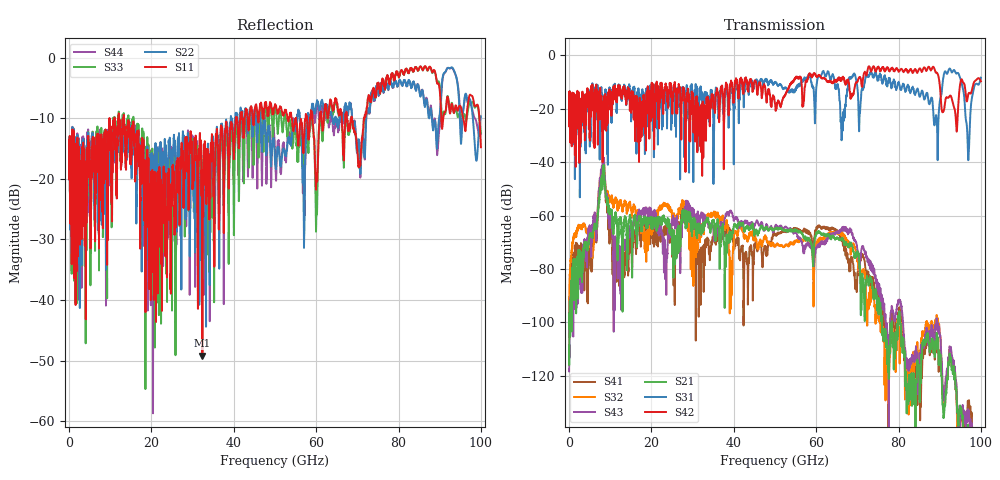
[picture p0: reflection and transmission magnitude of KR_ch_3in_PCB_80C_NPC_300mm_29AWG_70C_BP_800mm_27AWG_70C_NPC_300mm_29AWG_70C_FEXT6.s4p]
# GHz S RI R 45
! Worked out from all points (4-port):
!   4000 points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, 25 MHz to 100 GHz, reference 45 ohm
!   strongest paths, dB at 25 MHz, 25.02 GHz, 50.02 GHz, 75.03 GHz, 100 GHz:
!     S42: -20.0, -17.9, -18.0, -4.4, -9.7
!     S31: -20.0, -21.5, -10.3, -8.7, -8.4
!     S21: -109.0, -69.9, -65.0, -92.8, -174.4
!     S43: -118.3, -62.3, -64.1, -85.4, -169.2
!     S32: -98.5, -60.9, -71.5, -96.4, -182.2
!     S41: -105.5, -68.7, -67.3, -89.3, -167.5
!   lowest |S11| = -49.2 dB at 32.38 GHz (marker M1), VSWR 1.01, Z = 45.2 + j0.274 ohm
!   |S11| at or under -10 dB: start of sweep to 9.824 GHz; 13.32 GHz to 40.53 GHz (27.22 GHz wide, 101 % of centre); 68.67 GHz to 71.58 GHz (2.909 GHz wide, 4.15 % of centre) (the widest 3 of 30)
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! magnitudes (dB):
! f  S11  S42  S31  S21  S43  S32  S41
! 25 MHz  -16.1  -20.0  -20.0  -109.0  -118.3  -98.5  -105.5
! 8.125 GHz  -14.4  -29.4  -15.9  -48.1  -42.5  -45.6  -44.3
! 12.32 GHz  -11.3  -12.8  -12.4  -61.2  -74.7  -54.7  -79.2
! 32.38 GHz  -49.2  -23.2  -21.1  -66.1  -60.5  -64.8  -75.9
! 92.53 GHz  -9.2  -15.1  -5.0  -112.9  -109.6  -111.7  -110.6
! 96.88 GHz  -7.6  -15.0  -37.6  -140.1  -134.3  -145.6  -130.7
! 100 GHz  -14.8  -9.7  -8.4  -174.4  -169.2  -182.2  -167.5
